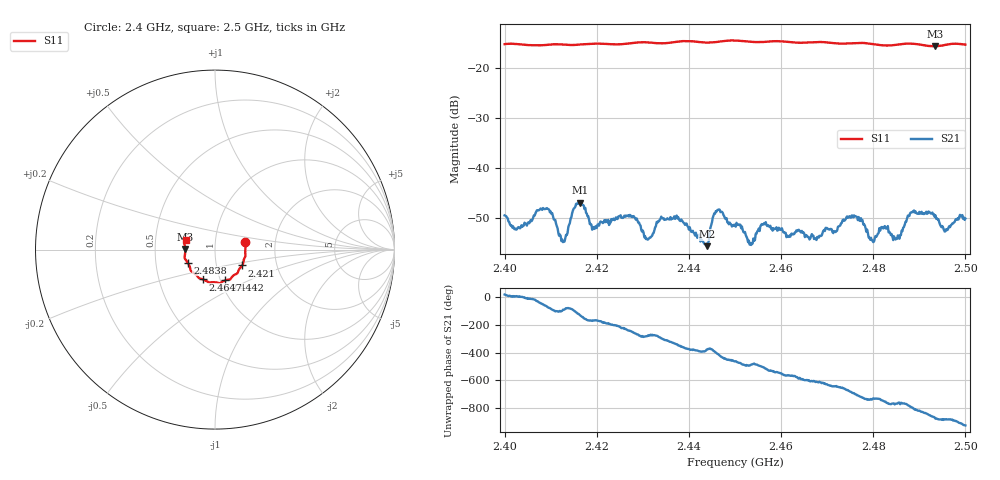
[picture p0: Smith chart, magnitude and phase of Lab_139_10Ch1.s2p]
# Hz S RI R 50
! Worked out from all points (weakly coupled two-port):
!   601 points, 2.4 GHz to 2.5 GHz, reference 50 ohm
!   highest |S21| = -47.00 dB at 2.4163 GHz (marker M1); lowest = -55.7 dB at 2.444 GHz (marker M2)
!   lowest |S11| = -15.6 dB at 2.4935 GHz (marker M3), VSWR 1.40, Z = 35.8 + j0.211 ohm
!   |S11| at or under -10 dB: start of sweep to end of sweep
!   S12 and S22 are empty: the file has one direction only
!   S11 on the Smith chart (normalised r, x): 2.4 GHz: 1.40, +0.12; 2.421 GHz: 1.33, -0.24; 2.4442 GHz: 1.05, -0.37; 2.4647 GHz: 0.83, -0.28; 2.4838 GHz: 0.73, -0.11; 2.5 GHz: 0.72, +0.08
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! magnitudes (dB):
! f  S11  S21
! 2.4 GHz  -15.2  -49.6
! 2.4092 GHz  -15.3  -48.1
! 2.4127 GHz  -15.3  -54.9
! 2.4163 GHz  -15.3  -47.0
! 2.4167 GHz  -15.3  -47.1
! 2.421 GHz  -15.1  -50.9
! 2.4277 GHz  -15.0  -49.8
! 2.4312 GHz  -14.9  -54.4
! 2.4333 GHz  -15.0  -50.7
! 2.444 GHz  -14.9  -55.7
! 2.4442 GHz  -14.9  -55.1
! 2.4462 GHz  -14.7  -48.5
! 2.45 GHz  -14.5  -51.7
! 2.4533 GHz  -14.7  -55.1
! 2.4647 GHz  -14.9  -53.1
! 2.4667 GHz  -14.8  -53.3
! 2.4758 GHz  -15.0  -49.6
! 2.4797 GHz  -15.2  -54.5
! 2.4833 GHz  -15.5  -53.0
! 2.4838 GHz  -15.5  -53.5
! 2.4935 GHz  -15.6  -49.5
! 2.5 GHz  -15.3  -50.2
